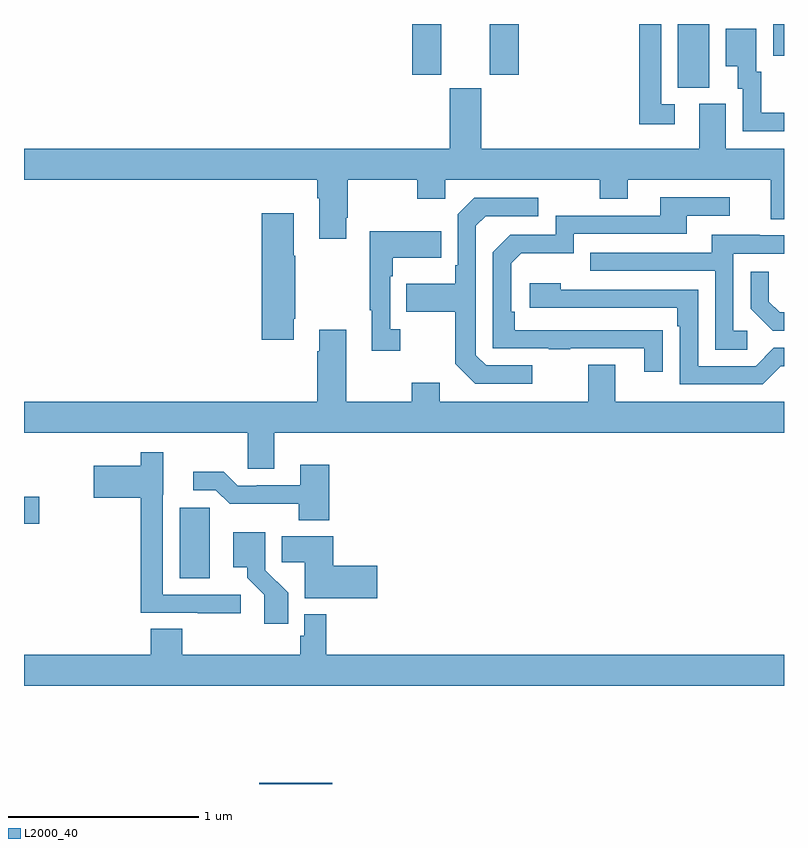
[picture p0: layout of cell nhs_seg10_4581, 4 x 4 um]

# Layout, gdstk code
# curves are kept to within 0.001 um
import gdstk
lib = gdstk.Library(unit=1e-6, precision=1e-09)
def R(c, l, rs):  # rectangles x0, y0, x1, y1
    for r in rs: c.add(gdstk.rectangle(r[:2], r[2:], *l))
def P(c, l, *ps):  # polygons
    for p in ps: c.add(gdstk.Polygon(p, *l))
L2000_40 = (2000, 40)

nhs_seg10_4581 = lib.new_cell('nhs_seg10_4581')
R(nhs_seg10_4581, L2000_40, [(374.238,1266.5,374.622,1266.506), (373.82,1267.582,373.978,1267.953), (373,1267.871,373.081,1268.013), (376.442,1270.165,376.606,1270.5), (375.044,1270.233,375.196,1270.5), (375.452,1270.233,375.605,1270.5), (376.944,1270.332,377,1270.5)])
P(nhs_seg10_4581, L2000_40, [(376.426,1270.077),(376.353,1270.077),(376.353,1270.5),(376.237,1270.5),(376.237,1269.972),(376.426,1269.972)],
  [(377,1270.032),(376.879,1270.032),(376.879,1270.248),(376.855,1270.248),(376.855,1270.474),(376.694,1270.474),(376.694,1270.277),(376.757,1270.277),(376.757,1270.158),(376.782,1270.158),(376.782,1269.936),(377,1269.936)],
  [(374.695,1269.481),(374.703,1269.481),(374.703,1269.68),(375.07,1269.68),(375.07,1269.581),(375.216,1269.581),(375.216,1269.68),(376.03,1269.68),(376.03,1269.581),(376.177,1269.581),(376.177,1269.68),(376.931,1269.68),(376.931,1269.472),(377,1269.472),(377,1269.844),(376.693,1269.844),(376.693,1270.08),(376.553,1270.08),(376.553,1269.844),(375.406,1269.844),(375.406,1270.161),(375.242,1270.161),(375.242,1269.844),(373,1269.844),(373,1269.68),(374.543,1269.68),(374.543,1269.584),(374.555,1269.584),(374.555,1269.369),(374.695,1269.369)],
  [(376.361,1268.888),(375.584,1268.889),(375.584,1268.986),(375.564,1268.986),(375.564,1269.24),(375.617,1269.293),(375.894,1269.293),(375.894,1269.396),(376.489,1269.396),(376.489,1269.492),(376.714,1269.492),(376.714,1269.588),(376.349,1269.588),(376.349,1269.492),(375.798,1269.492),(375.798,1269.39),(375.558,1269.39),(375.468,1269.3),(375.468,1268.793),(375.763,1268.793),(375.763,1268.788),(375.875,1268.788),(375.875,1268.793),(376.265,1268.793),(376.265,1268.67),(376.361,1268.67)],
  [(375.676,1268.703),(375.432,1268.703),(375.378,1268.757),(375.378,1269.438),(375.429,1269.489),(375.706,1269.489),(375.706,1269.585),(375.369,1269.585),(375.282,1269.498),(375.282,1269.229),(375.27,1269.229),(375.27,1269.133),(375.013,1269.133),(375.013,1268.986),(375.27,1268.986),(375.27,1268.713),(375.375,1268.607),(375.676,1268.607)],
  [(374.419,1268.95),(374.427,1268.95),(374.427,1269.281),(374.419,1269.281),(374.419,1269.505),(374.252,1269.505),(374.252,1268.838),(374.419,1268.838)],
  [(374.98,1268.894),(374.928,1268.894),(374.928,1269.173),(374.941,1269.173),(374.941,1269.269),(375.197,1269.269),(375.197,1269.409),(374.82,1269.409),(374.82,1268.993),(374.831,1268.993),(374.831,1268.781),(374.98,1268.781)],
  [(376.807,1268.886),(376.734,1268.886),(376.734,1269.291),(377,1269.291),(377,1269.387),(376.873,1269.387),(376.873,1269.391),(376.619,1269.391),(376.619,1269.297),(375.979,1269.297),(375.979,1269.201),(376.638,1269.201),(376.638,1268.785),(376.807,1268.785)],
  [(377,1268.982),(376.978,1268.982),(376.921,1269.039),(376.921,1269.196),(376.824,1269.196),(376.824,1269.002),(376.94,1268.886),(377,1268.886)],
  [(376.983,1268.7),(377,1268.7),(377,1268.796),(376.947,1268.796),(376.851,1268.7),(376.548,1268.7),(376.548,1269.102),(375.824,1269.102),(375.824,1269.136),(375.663,1269.136),(375.663,1269.006),(376.439,1269.006),(376.439,1268.909),(376.452,1268.909),(376.452,1268.604),(376.887,1268.604)],
  [(374.317,1268.348),(377,1268.348),(377,1268.512),(376.111,1268.512),(376.111,1268.707),(375.971,1268.707),(375.971,1268.512),(375.187,1268.512),(375.187,1268.611),(375.04,1268.611),(375.04,1268.512),(374.695,1268.512),(374.695,1268.89),(374.555,1268.89),(374.555,1268.777),(374.543,1268.777),(374.543,1268.512),(373,1268.512),(373,1268.348),(374.178,1268.348),(374.178,1268.158),(374.317,1268.158)],
  [(374.14,1267.497),(373.731,1267.497),(373.731,1268.022),(373.732,1268.022),(373.732,1268.245),(373.615,1268.245),(373.615,1268.176),(373.368,1268.176),(373.368,1268.006),(373.615,1268.006),(373.615,1267.401),(373.915,1267.401),(373.915,1267.399),(374.14,1267.399)],
  [(374.606,1268.179),(374.453,1268.179),(374.453,1268.073),(374.224,1268.073),(374.224,1268.07),(374.124,1268.07),(374.051,1268.143),(373.89,1268.143),(373.89,1268.046),(374.01,1268.046),(374.083,1267.974),(374.446,1267.974),(374.446,1267.889),(374.606,1267.889)],
  [(374.39,1267.506),(374.271,1267.625),(374.271,1267.776),(374.269,1267.776),(374.269,1267.825),(374.102,1267.825),(374.102,1267.64),(374.174,1267.64),(374.174,1267.585),(374.265,1267.495),(374.265,1267.344),(374.39,1267.344)],
  [(374.86,1267.649),(374.627,1267.649),(374.627,1267.804),(374.356,1267.804),(374.356,1267.666),(374.477,1267.666),(374.477,1267.478),(374.86,1267.478)],
  [(377,1267.18),(374.591,1267.18),(374.591,1267.393),(374.475,1267.393),(374.475,1267.281),(374.455,1267.281),(374.455,1267.18),(373.832,1267.18),(373.832,1267.316),(373.667,1267.316),(373.667,1267.18),(373,1267.18),(373,1267.016),(377,1267.016)])

lib.write_gds('nhs_seg10_4581.gds')
